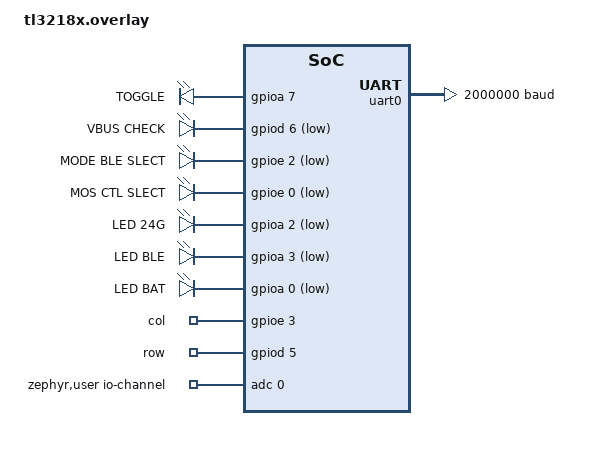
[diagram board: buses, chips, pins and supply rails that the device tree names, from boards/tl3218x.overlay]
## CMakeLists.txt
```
# SPDX-License-Identifier: Apache-2.0

cmake_minimum_required(VERSION 3.20.0)
find_package(Zephyr REQUIRED HINTS $ENV{ZEPHYR_BASE})
project(peripheral_kb_321x)

FILE(GLOB app_sources src/*.c)
target_sources(app PRIVATE
  ${app_sources}
  )
```

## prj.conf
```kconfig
# Increased stack due to settings API usage
CONFIG_SYSTEM_WORKQUEUE_STACK_SIZE=2048

CONFIG_BT=y
CONFIG_BT_SMP=y
CONFIG_BT_SMP_ALLOW_UNAUTH_OVERWRITE=y
CONFIG_BT_ID_ALLOW_UNAUTH_OVERWRITE=y
CONFIG_BT_MAX_PAIRED=4
CONFIG_BT_PERIPHERAL=y
CONFIG_BT_DIS=y
CONFIG_BT_BAS=y
CONFIG_BT_DEVICE_NAME="zephyr kb"
CONFIG_BT_HCI_CORE_LOG_LEVEL_DBG=n

CONFIG_BT_SETTINGS=y
CONFIG_FLASH=y
CONFIG_FLASH_PAGE_LAYOUT=y
CONFIG_FLASH_MAP=y
CONFIG_NVS=y
CONFIG_SETTINGS=y

CONFIG_GPIO=y

CONFIG_PM=y
CONFIG_PM_DEVICE=n
CONFIG_SAMPLE_BT_USE_AUTHENTICATION=n
CONFIG_BT_ID_MAX=4
CONFIG_BT_MAX_CONN=1
CONFIG_BT_ID_UNPAIR_MATCHING_BONDS=y

CONFIG_BT_ID_FOR_KMD=y

#usb config
CONFIG_USB_COMPOSITE_DEVICE=y
CONFIG_USB_DEVICE_STACK=y
CONFIG_USB_DEVICE_HID=y
CONFIG_USB_HID_DEVICE_COUNT=1
CONFIG_USB_DEVICE_PRODUCT="Zephyr HID-keyboard sample"
CONFIG_USB_DEVICE_INITIALIZE_AT_BOOT=n
CONFIG_USB_TELINK_TLX=y
CONFIG_USB_DC_HAS_HS_SUPPORT=n
CONFIG_USB_DEVICE_VID=0x248A
CONFIG_USB_DEVICE_PID=0x3218
CONFIG_ENTROPY_GENERATOR=y
CONFIG_ENTROPY_DEVICE_RANDOM_GENERATOR=y
CONFIG_HID_INTERRUPT_EP_MPS=64

CONFIG_LOG=y
CONFIG_USB_DRIVER_LOG_LEVEL_ERR=y
CONFIG_USB_DEVICE_LOG_LEVEL_ERR=y

CONFIG_REBOOT=y

CONFIG_ADC=n
```

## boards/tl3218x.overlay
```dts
&cpu0 {
	clock-frequency = <96000000>;
};

&uart0 {
	status = "okay";
	pinctrl-0 = <&uart0_tx_pa2_default &uart0_rx_pa3_default>;
	current-speed = <2000000>;			/* Baud rate for serial port logging */
};

&gpioa {
       status = "okay";
};


/ {

	aliases {

		/delete-property/ led0;
		/delete-property/ led1;
		/delete-property/ led2;
		/delete-property/ led3;

		/delete-property/ mcuboot-button0;
		/delete-property/ mcuboot-led0;

		/delete-property/ sw0;
		/delete-property/ sw1;
		/delete-property/ sw2;
		/delete-property/ sw3;

		/delete-property/ pwm-led0;
		/delete-property/ pwm0;

		toggle0 = &toggle_sws_pin;

		vbuscheck0 = &vbus_pin;
		modeswitch = &mode_pin;
		mosctrl = &mos_ctrl_pin;

		led24g = &p24g_led;
		ledble = &ble_led;
		ledbat = &bat_led;

	};

	/delete-node/ leds;
	/delete-node/ pwm_leds;

	leds {
		compatible = "gpio-leds";

		toggle_sws_pin: toggle_io_5 {
			gpios = <&gpioa 7 GPIO_ACTIVE_HIGH>;
			label = "TOGGLE";
		};

		vbus_pin: vbus_io {
			gpios = <&gpiod 6 (GPIO_ACTIVE_LOW)>;
			label = "VBUS CHECK";
		};

		mode_pin: mode_io {
			gpios = <&gpioe 2 (GPIO_ACTIVE_LOW)>;
			label = "MODE BLE SLECT";
		};

		mos_ctrl_pin: mos_io {
			gpios = <&gpioe 0 (GPIO_ACTIVE_LOW)>;
			label = "MOS CTL SLECT";
		};

		p24g_led: led_24g_io {
			gpios = <&gpioa 2 (GPIO_ACTIVE_LOW)>;
			label = "LED 24G";
		};

		ble_led: led_ble_io {
			gpios = <&gpioa 3 (GPIO_ACTIVE_LOW)>;
			label = "LED BLE";
		};

		bat_led: led_bat_io {
			gpios = <&gpioa 0 (GPIO_ACTIVE_LOW)>;
			label = "LED BAT";
		};
	};

	/delete-node/ keys;
	/delete-node/ key_pool;
	/delete-node/ led_pool;
	/delete-node/ pwm_pool;

	/delete-node/ key_matrix;

	key_matrix {
		compatible = "gpio-keys";

		col {
			gpios = <&gpioe 3 (GPIO_ACTIVE_HIGH | GPIO_PULL_DOWN)>,
					<&gpioc 5 (GPIO_ACTIVE_HIGH | GPIO_PULL_DOWN)>,
					<&gpioc 4 (GPIO_ACTIVE_HIGH | GPIO_PULL_DOWN)>,
					<&gpioc 3 (GPIO_ACTIVE_HIGH | GPIO_PULL_DOWN)>,
					<&gpioc 1 (GPIO_ACTIVE_HIGH | GPIO_PULL_DOWN)>,
					<&gpioc 2 (GPIO_ACTIVE_HIGH | GPIO_PULL_DOWN)>,
					<&gpiob 4 (GPIO_ACTIVE_HIGH | GPIO_PULL_DOWN)>,
					<&gpiob 5 (GPIO_ACTIVE_HIGH | GPIO_PULL_DOWN)>,
					<&gpioe 5 (GPIO_ACTIVE_HIGH | GPIO_PULL_DOWN)>,
					<&gpioe 4 (GPIO_ACTIVE_HIGH | GPIO_PULL_DOWN)>,
					<&gpiob 3 (GPIO_ACTIVE_HIGH | GPIO_PULL_DOWN)>,
					<&gpioa 1 (GPIO_ACTIVE_HIGH | GPIO_PULL_DOWN)>,
					<&gpioa 4 (GPIO_ACTIVE_HIGH | GPIO_PULL_DOWN)>,
					<&gpiob 7 (GPIO_ACTIVE_HIGH | GPIO_PULL_DOWN)>,
					<&gpiob 6 (GPIO_ACTIVE_HIGH | GPIO_PULL_DOWN)>,
					<&gpiob 1 (GPIO_ACTIVE_HIGH | GPIO_PULL_DOWN)>,
					<&gpioe 7 (GPIO_ACTIVE_HIGH | GPIO_PULL_DOWN)>,
					<&gpioe 6 (GPIO_ACTIVE_HIGH | GPIO_PULL_DOWN)>;
		};

		row {
			gpios = <&gpiod 5 GPIO_ACTIVE_HIGH>,
					<&gpiob 2 GPIO_ACTIVE_HIGH>,
					<&gpiod 0 GPIO_ACTIVE_HIGH>,
					<&gpiod 1 GPIO_ACTIVE_HIGH>,
					<&gpiod 2 GPIO_ACTIVE_HIGH>,
					<&gpiod 4 GPIO_ACTIVE_HIGH>,
					<&gpiod 7 GPIO_ACTIVE_HIGH>,
					<&gpiod 3 GPIO_ACTIVE_HIGH>;
		};
	};

	zephyr,user {
		/* adjust channel number according to pinmux in board.dts */
		io-channels = <&adc 0>;
	};
};

/*&adc {
	#address-cells = <1>;
	#size-cells = <0>;

	channel@0 {
		reg = <0>;
		zephyr,gain = "ADC_GAIN_1";
		zephyr,reference = "ADC_REF_INTERNAL";
		zephyr,acquisition-time = <ADC_ACQ_TIME_DEFAULT>;
		zephyr,resolution = <12>;
		zephyr,input-positive = <DT_ADC_GPIO_PB0>;
	};
};

&adc {
	status = "disabled";
	vref-internal-mv = <1200>;
	sample-freq = <DT_FREQ_K(96)>;
	pinctrl-0 = <&adc_pb0_default>;
	pinctrl-names = "default";
};
*/

&flash {
	reg = <0x20000000 0x100000>;
	/delete-node/ partitions;

	partitions {
		compatible = "fixed-partitions";
		#address-cells = <1>;
		#size-cells = <1>;

		/*boot_partition: 32k*/
		boot_partition: partition@0 {
			label = "mcuboot";
			reg = <0x00000000 0x8000>;
		};
		/*D25F APP 1 partition: 256k*/
		slot0_partition: partition@8000 {
			label = "image-0";
			reg = <0x8000 0x40000>;
		};
		/*N22 APP 1 partition: 128k*/
		n22_1_partition: partition@48000 {
			label = "image-1";
			reg = <0x48000 0x20000>;
		};
		/*D25F APP 2 partition: 256k*/
		slot1_partition: partition@68000 {
			label = "image-2";
			reg = <0x68000 0x40000>;
		};
		/*N22 APP 2 partition: 128k*/
		n22_2_partition: partition@A8000 {
			label = "image-3";
			reg = <0xA8000 0x20000>;
		};

		user_app_partition: partition@C8000 {
			label = "app-storage";
			reg = <0xC8000 0x00002000>;
		};

		/*BLE SMP storage partition*/
		storage_partition: partition@CA000 {
			label = "storage";
			reg = <0xCA000 0x00002000>;
		};

		/* region <0xfe000 0x2000> is used for Telink TLx RF parameters */
		/* For 1M MCU - the partition address is 0xfe000 */
		/* For 2M MCU - the partition address is 0x1fe000 */
		/* For 4M MCU - the partition address is 0x3fe000 */
		/* For 16M MCU - the partition address is 0xffe000 */
		vendor_partition: partition@fe000 {
			label = "vendor-data";
			reg = <0xfe000 0x2000>;
		};
	};
};

&pinctrl {
	/* Set pad-mul-sel register value.
	 * Note: Pins functions below (pinmux = <...>) depend on this value.
	 */
	pad-mul-sel = <1>;

	/* UART0: TX(PA0), RX(PA1), RTS(PB4), CTS(PB6) */

	/delete-node/ uart0_tx_pe0_default;
	/delete-node/ uart0_rx_pe1_default;

	uart0_tx_pa2_default: uart0_tx_p2a_default {
		pinmux = <TLX_PINMUX_SET(TLX_PORT_A, TLX_PIN_2,
			(TL321X_FUNC_UART0_TX))>;
	};
	uart0_rx_pa3_default: uart0_rx_p3a_default {
		pinmux = <TLX_PINMUX_SET(TLX_PORT_A, TLX_PIN_3,
			(TL321X_FUNC_UART0_RTX_IO))>;
	};
};

&pwm0 {
	status = "disabled";
};

&gspi {
	status = "disabled";
};

&i2c {
	status = "disabled";
	clock-frequency = <I2C_BITRATE_FAST>;
	pinctrl-0 = <&i2c_scl_pc3_default &i2c_sda_pc2_default>;
	pinctrl-names = "default";
};
```

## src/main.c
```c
/* main.c - Application main entry point */

/*
 * Copyright (c) 2016 Intel Corporation
 *
 * SPDX-License-Identifier: Apache-2.0
 */

#include <zephyr/types.h>
#include <stddef.h>
#include <string.h>
#include <errno.h>
#include <zephyr/sys/printk.h>
#include <zephyr/sys/byteorder.h>
#include <zephyr/kernel.h>

#include <zephyr/settings/settings.h>

#include <zephyr/bluetooth/bluetooth.h>
#include <zephyr/bluetooth/hci.h>
#include <zephyr/bluetooth/conn.h>
#include <zephyr/bluetooth/uuid.h>
#include <zephyr/bluetooth/gatt.h>

#include "app_public.h"

#define LOG_LEVEL LOG_LEVEL_DBG
#include <zephyr/logging/log.h>
LOG_MODULE_REGISTER(main);


int main(void)
{

	keyboard_comm_init();

	while(1) {

	    public_loop();
		k_sleep(K_MSEC(3));
	}

	return 0;
}
```

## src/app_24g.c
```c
/* app_24g.c - Application main entry point */

/*
 * Copyright (c) 2016 Intel Corporation
 *
 * SPDX-License-Identifier: Apache-2.0
 */

#include <zephyr/types.h>
#include <stddef.h>
#include <string.h>
#include <errno.h>
#include <zephyr/sys/printk.h>
#include <zephyr/sys/byteorder.h>
#include <zephyr/kernel.h>

#include <zephyr/settings/settings.h>

#include "app_public.h"
#include "drivers.h"

#define LOG_LEVEL LOG_LEVEL_DBG
#include <zephyr/logging/log.h>
LOG_MODULE_REGISTER(app_24g);

#define SCAN_INTERVAL_TIME 8 /* 6 */

#define PAIR_ACCESS_CODE 0x39517695

volatile unsigned int rf_state;
int device_ack_received;
uint8_t device_channel;

uint8_t device_status = 0;
uint32_t dongle_id;
volatile uint16_t no_ack = 0;
uint8_t keyboard_send_need_f = 0;
uint8_t need_suspend_flag = 0;

uint32_t tick_loop;
uint32_t wakeup_next_tick;
uint8_t count;
uint8_t pair_success_flag;
uint8_t dongle_id_need_save_flag = 0;

uint8_t has_new_report;
uint8_t active_disconnect_reason = 0;

uint8_t kb_led_status;
uint8_t connect_ok = 0;

volatile unsigned int rf_rx_timeout_us; /*  rx timeout */
volatile uint32_t start_rf_tick;        /*  start rf tick */
uint8_t has_new_key_event = 0;

#define PAIR_RF_LEN 20
#define KM_RF_LEN   16
volatile rf_packet_t rf_pair_buf = {
	rf_tx_packet_dma_len(PAIR_RF_LEN + 1), /*  dma_len */
	PAIR_RF_LEN,                           /*  rf_len */
};
pair_data_t *p_pair_dat = (pair_data_t *)&rf_pair_buf.dat[0]; /*  point to pair packet */

volatile rf_packet_t rf_km_buf = {
	rf_tx_packet_dma_len(KM_RF_LEN + 1), /*  dma_len */
	KM_RF_LEN,                           /*  rf_len */
};

km_data_t *p_km_data = (km_data_t *)&rf_km_buf.dat[0]; /*  point to km data packet */

unsigned short crc16_poly1[2] = {0, 0xa001};
/**
 * @brief       This function crs 16
 * @param[in]   len	- data len
 * @param[in]   pD	- data
 * @return     crc
 * @note
 */
_attribute_ram_code_sec_ unsigned short crc16_user(unsigned char *pD, int len)
{
	unsigned short crc = 0xffff; /*  crc16 init ffff */
	int i, j;

	for (j = len; j > 0; j--) /*  for every data */
	{
		unsigned char ds = *pD++; /*  pointer pd */

		for (i = 0; i < 8; i++) {
			crc = (crc >> 1) ^ crc16_poly1[(crc ^ ds) & 1]; /*  deal every bit */
			ds = ds >> 1;                                   /*  right move 1 bit */
		}
	}

	return crc; /*  return crc */
}

/**
 * @brief       This function led out kb
 * @param[in]   status
 * @return
 * @note
 */
_attribute_ram_code_sec_ void kb_led_out_aaa(uint8_t status)
{
#if HAS_NUM_LED                                          /*  num led en */
	led_num_set((status & 0x01) ? LED_ON : LED_OFF); /*  set num led */
#endif

#if HAS_CAPS_LED                                          /*  caps led en */
	led_caps_set((status & 0x02) ? LED_ON : LED_OFF); /*  set caps led */
#endif

#if HAS_SCROLL_LED                                          /*  scroll led en */
	led_scroll_set((status & 0x04) ? LED_ON : LED_OFF); /*  set scroll led */
#endif
}

/**
 * @brief       This function deal rx packet
 * @param[in]   p_rf_data	- rx packet
 * @return
 * @note
 */
_attribute_ram_code_sec_ uint8_t rf_rx_process(rf_packet_t *p_rf_data)
{
	if (device_status == STATE_PAIRING) /*  pair status */
	{
		pair_ack_data_t *pair_ack_dat_ptr = (pair_ack_data_t *)&p_rf_data->dat[0];

		if (((pair_ack_dat_ptr->cmd == PAIR_ACK_CMD) ||
		     (pair_ack_dat_ptr->cmd == RECONNECT_ACK_CMD)) &&
		    (pair_ack_dat_ptr->did == p_pair_dat->did)) /*  ack and same did */
		{
			dongle_id = pair_ack_dat_ptr->gid; /*  dongle id update */
			pair_success_flag = 1;             /*  pair success flag set 1 */
			if (pair_ack_dat_ptr->cmd == PAIR_ACK_CMD) {
				dongle_id_need_save_flag = 1; /*  save dongle_id */
			} else {
				dongle_id_need_save_flag = 0; /*  not save dongle_id */
			}
			printk("pairing success--------- %x\n",
			       pair_ack_dat_ptr->gid); /*  debug gid */
			return 1;
		}
	} else if (device_status == STATE_NORMAL) /*  normal status */
	{
		km_ack_data_t *km_ack_dat_ptr = (km_ack_data_t *)&p_rf_data->dat[0];

		if ((keyboard_send_need_f == 2)) /*  mouse ack */
		{
			if (km_ack_dat_ptr->cmd == KB_ACK_CMD) /*  km ack */
			{
				kb_led_status =
					km_ack_dat_ptr->host_led_status; /*  read led status */
				kb_led_out(kb_led_status);               /*  led set status */
				return 1;
			}
		}

		return 1;
	}

	return 0;
}

/**
 * @brief       This function start pair
 * @return
 * @note
 */
void d24_start_pair(void)
{
	printk("d24_start_pair\r\n");
	set_pair_flag(); /*  set pair flag */
#if REBOOT_WHEN_SWITCH_MODE_AND_CHANNEL_ENABLE
	/*  user_reboot(CLEAR_FLAG_ANA); */
	sys_reboot(SYS_REBOOT_COLD);
#else
	/*  write_deep_ana1(CLEAR_FLAG_ANA); /* write reason to analog register */
	device_status = STATE_PAIRING;
	rf_rx_timeout_us = D24G_PAIR_TIMER_OUT;

	p_pair_dat->cmd = PAIR_CMD; /*  Load PAIR_CMD in pairing packets */
#endif
	adv_count = 0;                     /*  adv count 0 */
	adv_begin_tick = clock_time() | 1; /*  adv begin tick */
}

 */
void d24_user_init()
	uint32_t dev_mac;

	printk("d24_user_init\n"); /*  debug 24g user init */

	memcpy((uint8_t *)&dev_mac, mac_public, 4);

	uint32_t device_id = ((dev_mac << 8) | DEVICE_TYPE_INDEX); /*  did set */

	p_pair_dat->cmd = PAIR_CMD;  /*  pair cmd */
	p_pair_dat->did = device_id; /*  did */
	p_km_data->did = device_id;  /*  did */

	p_km_data->cmd = KB_CMD;

	printk("device_id %x\n", device_id);
	dongle_id = flash_dev_info.dongle_id;
	printk("dongle_id %x\n", flash_dev_info.dongle_id);

	if ((dongle_id == U32_MAX) || (dongle_id == 0)) {
		set_pair_flag();
	}

	if (pair_flag) {
		device_status = STATE_PAIRING;          /*  device into pair status */
		rf_rx_timeout_us = D24G_PAIR_TIMER_OUT; /*  pair time out */
		p_pair_dat->did = device_id;
		rf_set_power_level_index(RF_2P4G_POWER_PAIR);
	} else {
		device_status = STATE_NORMAL;
		rf_rx_timeout_us = D24G_COMMUNICATION_TIMER_OUT;
		rf_set_power_level_index(RF_2P4G_POWER_NORMAL);
	}
	rf_state = RF_IDLE_STATUS;
	wakeup_next_tick = clock_time(); /*  next wake up tick update */
	reset_idle_status();
}

/**
 * @brief       This function check rf complet status
 * @return
 * @note
 */
_attribute_ram_code_sec_ void check_rf_complet_status()
{
	rf_state = RF_IDLE_STATUS;
	static uint32_t ack_miss_no; /*  ack miss no */

	if (device_ack_received) {
		ack_miss_no = 0;   /*  reset ack miss 0 */
		no_ack = 0;        /*  reset no ack  0 */
		start_rf_tick = 0; /*  reset start rf tick 0 */

		if (device_status <= STATE_PAIRING) {                            /*  pair status */
			if (pair_success_flag) {                                 /*  pair success */
				device_status = STATE_NORMAL;                    /*  state normal */
				rf_rx_timeout_us = D24G_COMMUNICATION_TIMER_OUT; /*  rx timeout */
				connect_ok = 1;                                  /*  connect ok 1 */

				if (flash_dev_info.dongle_id != dongle_id) {
					flash_dev_info.dongle_id = dongle_id;

					/* need to save dongle_id to flash */
					if (dongle_id_need_save_flag) {
						save_dev_info();
					}
					printk("save info flash %x\n", dongle_id);
				}

				clear_pair_flag();
				reset_idle_status();
			}
			pp_fifo_reset(&tx_fifo);
		} else if (device_status == STATE_NORMAL) /*  normal status */
		{
			if (keyboard_send_need_f) {
				pp_fifo_pop(&tx_fifo);
			}

			connect_ok = 1; /*  update connect ok */
		}

		keyboard_send_need_f = 0;
	} else {
		no_ack++;      /*  noack ++ */
		ack_miss_no++; /*  ack miss no ++ */

		if (ack_miss_no >= 2) {
			device_channel = get_next_channel_with_mask(0, device_channel);
		}

		if (no_ack > 125) /*  no ack>125 */
		{
			connect_ok = 0; /*  no conn */
		}
	}
}

/**
 * @brief       This function deal rf machine loop
 * @return
 * @note
 */
_attribute_ram_code_sec_ void d24g_rf_loop(void) /*  rf state machine loop */
{
	uint8_t *ptr = 0;

	if (rf_state == RF_IDLE_STATUS) /*  rf status idle */
	{
		if (device_status <= STATE_PAIRING) /*  device status not normal */
		{
			set_pair_access_code(PAIR_ACCESS_CODE);

			pair_success_flag = 0; /*  pair success flag set to 0 */
			if (device_status == STATE_PAIRING) {
				app_set_rf_power(RF_POWER_P0dBm);
			}

			connect_ok = 0;                   /*  no connect */
			ptr = (uint8_t *)&rf_pair_buf;    /*  point pair packet */
			keyboard_send_need_f = 1;         /*  pairing */
			start_rf_tick = 0;                /*  reset start rf tick */
		} else if (device_status == STATE_NORMAL) /*  status normal */
		{
			ptr = (uint8_t *)&rf_km_buf; /*  normal status pointer to km data packet */

			set_data_access_code(
				flash_dev_info.dongle_id); /*  dongle id to be data access code */
			app_set_rf_power(RF_2P4G_POWER_NORMAL); /*  set data tx power */

			if (keyboard_send_need_f == 0) {
				uint8_t *p = pp_fifo_get_ptr(&tx_fifo); /*  get data */
				/*  if have data */
				if (p) {
					/*  kb data is 8 byte */
					start_rf_tick = clock_time() | 1; /*  update rf tick */
					keyboard_send_need_f = 2;

					uint8_t *src = (uint8_t *)&p_km_data->cmd;
					km_data_t *km_dat = (km_data_t *)&src[0];
					km_dat->key_type = p[1];

					memcpy(&km_dat->km_dat[0], &p[2], 8);
					/* printk("%x, %x, %x, %x, %x, %x, %x, %x, %x\n",
					 * km_dat->key_type, km_dat->km_dat[0], km_dat->km_dat[1],
					 * km_dat->km_dat[2], km_dat->km_dat[3], km_dat->km_dat[4],
					 * km_dat->km_dat[5], km_dat->km_dat[6], km_dat->km_dat[7]);
					 */

					p_km_data->pn_no = 1;
					p_km_data->seq_no++;
				}
			}
		}

		if (keyboard_send_need_f) {
			rf_state = RF_TX_START_STATUS; /*  rf state to TX status */
			device_ack_received = 0;

			app_rf_set_timeout(rf_rx_timeout_us);
			app_rf_set_chn(rf_chn[device_channel]);
			/*  tlkapi_send_string_data(APP_LOG_EN, "t:", ptr, 20); */
			rf_start_stx2rx(ptr, rf_stimer_get_tick());
			reg_rf_irq_status = 0xffff; /*  irq status reset to ffff */
			printk("t");
		}

	}
	/*  rf status is rf_rx end */
	else if (rf_state == RF_RX_END_STATUS) {
		{
			irq_device_rx();           /*  deal rx receive packet */
			check_rf_complet_status(); /*  check rf complet */
		}
	} else if (rf_state == RF_RX_TIMEOUT_STATUS) /*  rf status is timeout status */
	{
		check_rf_complet_status(); /*  check rf complet */
	}
}

/**
 * @brief       This function deal ui_loop
 * @return
 * @note
 */
_attribute_ram_code_sec_ void ui_loop_24g()
{
	idle_status_poll(); /*  poll idle status parameters */

	/*  device_led_process(); */

	if ((connect_ok == 0)) /*  no connect */
	{
		adv_count_poll(); /*  adv parameter poll */
	}

	if (device_status == STATE_NORMAL) {
		if (has_new_key_event) {
			has_new_key_event = 0;
			reset_idle_status();
		} else {
			if ((idle_count < 3) || key_buf_24g.cnt || 1) {
				uint8_t *p = pp_fifo_get_ptr(&tx_fifo);
				if (p == 0) {
					pp_fifo_push(&tx_fifo, NORMAL_KB_DATA_CMD,
						     &key_buf_24g.nk[0], 8);
				}
			}
		}
	}
}

/**
 * @brief       This function 24g mouse main loop
 * @return
 * @note
 */
_attribute_ram_code_sec_ void d24_main_loop()
{
	static uint32_t tick_loop = 0;

	d24g_rf_loop();

	if (need_suspend_flag) {
		ui_loop_24g();
		tick_loop = clock_time() | 1;
	} else if (clock_time_exceed(tick_loop, SCAN_INTERVAL_TIME * 1000)) {
		tick_loop += SCAN_INTERVAL_TIME * 1000 * SYSTEM_TIMER_TICK_1US;
		wakeup_next_tick = clock_time() | 1;
		ui_loop_24g();
	}

	/* pm_poll(); */
}
```

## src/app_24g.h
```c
/** @file
 *  @brief app_24g.h
 */

/*
 * Copyright (c) 2016 Intel Corporation
 *
 * SPDX-License-Identifier: Apache-2.0
 */

#ifndef __APP_2P4G_H__
#define __APP_2P4G_H__

#define DEVICE_TYPE_INDEX 2 /* 1:mouse, 2:keyboard */

extern uint8_t device_channel;
extern volatile unsigned int rf_state;
extern uint8_t d24g_ota_status;
extern uint8_t deep_flag;
extern uint8_t has_new_key_event;

#define MAX_BTN_CNT 6
typedef struct {
	uint8_t cnt;
	uint8_t keycode[MAX_BTN_CNT];
	uint8_t press_cnt;
	uint32_t special_key_press_f;
} keyboard_data_t;
extern keyboard_data_t key_buf;

typedef enum {
	STATE_POWERON = 0,
	STATE_PAIRING,
	STATE_NORMAL,
	STATE_OTA,
} DEVICE_STATE;

void d24_user_init(void);

void d24_main_loop(void);

void d24g_ota_loop(void);

#ifdef __cplusplus
extern "C" {
#endif

#ifdef __cplusplus
}
#endif

#endif /* __APP_2P4G_H__ */
```

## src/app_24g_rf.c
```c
/* app_24g.c - Application main entry point */

/*
 * Copyright (c) 2016 Intel Corporation
 *
 * SPDX-License-Identifier: Apache-2.0
 */

#include <zephyr/types.h>
#include <stddef.h>
#include <string.h>
#include <errno.h>
#include <zephyr/sys/printk.h>
#include <zephyr/sys/byteorder.h>
#include <zephyr/kernel.h>

#include <zephyr/settings/settings.h>


#include "app_public.h"
#include "drivers.h"

#define LOG_LEVEL LOG_LEVEL_DBG
#include <zephyr/logging/log.h>
LOG_MODULE_REGISTER(app_24g_rf);


#define RX_FIFO_NUM         4
#define RX_FIFO_DEP         128
#define RX_FRAME_SIZE       (RX_FIFO_NUM * RX_FIFO_DEP)

_attribute_data_retention_ volatile unsigned char rx_packet[RX_FRAME_SIZE]  __attribute__((aligned(4)));


//-------------------- rf init------------------
#define FRE_OFFSET	0
#define MAX_RF_CHANNEL  16
const unsigned char rf_chn[MAX_RF_CHANNEL] =
{
    FRE_OFFSET + 5, FRE_OFFSET + 9, FRE_OFFSET + 13, FRE_OFFSET + 17,
    FRE_OFFSET + 22, FRE_OFFSET + 26, FRE_OFFSET + 30, FRE_OFFSET + 35,
    FRE_OFFSET + 40, FRE_OFFSET + 45, FRE_OFFSET + 50, FRE_OFFSET + 55,
    FRE_OFFSET + 60, FRE_OFFSET + 65, FRE_OFFSET + 70, FRE_OFFSET + 76,
};

_attribute_aligned_(4)  uint8_t buf_rf_rxfifo[64*2];
_attribute_aligned_(4)  pl_fifo_t  rf_rxfifo =
{
	.size = 64,
	.num = 2,
	.wptr = 0,
	.rptr = 0,
	.p = buf_rf_rxfifo,
};


#define EMPTY_CNT     500

extern _attribute_data_retention_sec_ rf_fast_settle_t *g_fast_settle_cal_val_ptr;
void		rf_fast_settle_get_val(rf_tx_fast_settle_time_e tx_settle_us, rf_rx_fast_settle_time_e rx_settle_us, rf_fast_settle_t *fs_cv);
void		rf_fast_settle_set_val(rf_tx_fast_settle_time_e tx_settle_us, rf_rx_fast_settle_time_e rx_settle_us, rf_fast_settle_t *fs_cv);


_attribute_data_retention_sec_ rf_fast_settle_t fs_cv_2m;


/**
 *  @brief      This function is used to get the calibration value of rf tx/rx fast settle
 *  @param[in]  tx_settle_us    After adjusting the timing sequence, the time required for tx to settle.
 *  @param[in]  rx_settle_us    After adjusting the timing sequence, the time required for rx to settle.
 *  @param[in]  fs_cv           Fast settle related calibration value storage variable address.
 *  @return     none
 */
void rf_fast_settle_get_val(rf_tx_fast_settle_time_e tx_settle_us, rf_rx_fast_settle_time_e rx_settle_us, rf_fast_settle_t *fs_cv)
{
	uint8_t ble_tx_packet[6];
	unsigned char rf_data_len = 2;
	ble_tx_packet[4]=0;
	ble_tx_packet[5]=0;
	unsigned int rf_tx_dma_len = rf_tx_packet_dma_len(rf_data_len);
	ble_tx_packet[3] = (rf_tx_dma_len >> 24)&0xff;
	ble_tx_packet[2] = (rf_tx_dma_len >> 16)&0xff;
	ble_tx_packet[1] = (rf_tx_dma_len >> 8)&0xff;
	ble_tx_packet[0] = rf_tx_dma_len&0xff;
	//tx

    rf_set_tx_rx_off_auto_mode();      //STOP_RF_STATE_MACHINE;
    rf_clr_irq_status(FLD_RF_IRQ_ALL); //CLEAR_ALL_RFIRQ_STATUS;

    rf_set_tx_settle_time(115);        //adjust TX settle time
    rf_set_tx_dma(2, 128);

    for (unsigned char chn = 0; chn <= 80; chn++) {
        rf_set_chn(chn);
        rf_start_stx(ble_tx_packet, rf_stimer_get_tick());

        while (!(rf_get_irq_status(FLD_RF_IRQ_TX)))
            ;
        rf_clr_irq_status(FLD_RF_IRQ_TX);
        rf_tx_fast_settle_get_cal_val(tx_settle_us, chn, fs_cv);

        rf_set_tx_rx_off_auto_mode(); //STOP_RF_STATE_MACHINE;
        rf_clr_irq_status(FLD_RF_IRQ_ALL);
    }

    //rx
    rf_set_rx_settle_time(85); //adjust RX settle time

    #if 0//defined(MCU_CORE_B91) || defined(MCU_CORE_B92)
    rf_start_srx(rf_stimer_get_tick());
    delay_us(85); //Wait for the rx packetization action to complete
    rf_rx_fast_settle_get_cal_val(rx_settle_us, 0, fs_cv);
    while (rf_receiving_flag())
        ;
    rf_set_tx_rx_off_auto_mode(); //STOP_RF_STATE_MACHINE;
    rf_clr_irq_status(FLD_RF_IRQ_ALL);
    #elif 1//defined(MCU_CORE_TL721X) || defined(MCU_CORE_TL321X)
    rf_set_tx_rx_off_auto_mode(); //STOP_RF_STATE_MACHINE;
    rf_clr_irq_status(FLD_RF_IRQ_ALL);
    for (unsigned char chn = 4; chn <= 80; chn += 10) {
        rf_set_chn(chn);
        rf_start_srx(rf_stimer_get_tick());
        delay_us(85); //Wait for the rx packetization action to complete

        rf_rx_fast_settle_get_cal_val(rx_settle_us, chn, fs_cv);
        while (rf_receiving_flag())
            ;
        rf_set_tx_rx_off_auto_mode(); //STOP_RF_STATE_MACHINE;
        rf_clr_irq_status(FLD_RF_IRQ_ALL);
    }
    #endif
}


/**
 *  @brief      This function is used to set the calibration value of rf tx/rx fast settle
 *  @param[in]  tx_settle_us    After adjusting the timing sequence, the time required for tx to settle.
 *  @param[in]  rx_settle_us    After adjusting the timing sequence, the time required for rx to settle.
 *  @param[in]  fs_cv           Fast settle related calibration value storage variable address.
 *  @return     none
 */
void rf_fast_settle_set_val(rf_tx_fast_settle_time_e tx_settle_us, rf_rx_fast_settle_time_e rx_settle_us, rf_fast_settle_t *fs_cv)
{
        g_fast_settle_cal_val_ptr = fs_cv;
    #if 0//defined(MCU_CORE_B91) || defined(MCU_CORE_B92)
        for (unsigned char chn = 4; chn <= 80; chn += 10) {
            rf_tx_fast_settle_set_cal_val(tx_settle_us, chn, fs_cv);
        }
        rf_rx_fast_settle_set_cal_val(rx_settle_us, 0, fs_cv);
    #elif 1//defined(MCU_CORE_TL721X) || defined(MCU_CORE_TL321X)
        for (unsigned char chn = 4; chn <= 80; chn += 10) {
            rf_tx_fast_settle_set_cal_val(tx_settle_us, chn, fs_cv);
            rf_rx_fast_settle_set_cal_val(rx_settle_us, chn, fs_cv);
        }
    #endif
}


/**
 *  @brief      This function is used to set rf tx/rx fast settle
 *  @param[in]  tx_settle_us    After adjusting the timing sequence, the time required for tx to settle.
 *  @param[in]  rx_settle_us    After adjusting the timing sequence, the time required for rx to settle..
 *  @return     none
*/
void rf_fast_settle_setup(rf_tx_fast_settle_time_e tx_settle_us, rf_rx_fast_settle_time_e rx_settle_us)
{
	uint8_t ble_tx_packet[6];
	unsigned char rf_data_len = 2;
	ble_tx_packet[4]=0;
	ble_tx_packet[5]=0;
	unsigned int rf_tx_dma_len = rf_tx_packet_dma_len(rf_data_len);
	ble_tx_packet[3] = (rf_tx_dma_len >> 24)&0xff;
	ble_tx_packet[2] = (rf_tx_dma_len >> 16)&0xff;
	ble_tx_packet[1] = (rf_tx_dma_len >> 8)&0xff;
	ble_tx_packet[0] = rf_tx_dma_len&0xff;
	//tx
	rf_set_tx_rx_off_auto_mode();//STOP_RF_STATE_MACHINE;
	rf_clr_irq_status(FLD_RF_IRQ_ALL);//CLEAR_ALL_RFIRQ_STATUS;

	rf_set_tx_settle_time(115);//adjust TX settle time
	rf_set_tx_dma(2,128);

	for(unsigned char chn=0;chn<=80;chn++)
	{
		rf_set_chn(chn);
		rf_start_stx(ble_tx_packet,rf_stimer_get_tick());
		delay_us(115);//Wait for the tx packetization action to complete, ensuring that the settle time on each channel

		rf_tx_fast_settle_update_cal_val(tx_settle_us,chn);

		rf_set_tx_rx_off_auto_mode();//STOP_RF_STATE_MACHINE;
		rf_clr_irq_status(FLD_RF_IRQ_ALL);
	}

	//rx
	rf_set_rx_settle_time(85);//adjust RX settle time
	rf_start_srx(rf_stimer_get_tick());
	delay_us(85);//Wait for the rx packetization action to complete

#if (MCU_CORE_TYPE == MCU_CORE_B91)

	rf_rx_fast_settle_update_cal_val(rx_settle_us,0);
	rf_set_tx_rx_off_auto_mode();//STOP_RF_STATE_MACHINE;
	rf_clr_irq_status(FLD_RF_IRQ_ALL);
#elif ((MCU_CORE_TYPE == MCU_CORE_TL721X)||(MCU_CORE_TYPE == MCU_CORE_TL321X))
	rf_set_tx_rx_off_auto_mode();//STOP_RF_STATE_MACHINE;
	rf_clr_irq_status(FLD_RF_IRQ_ALL);
	for(unsigned char chn=4;chn<=80;chn+=10)
	{
		rf_set_chn(chn);
		rf_start_srx(rf_stimer_get_tick());
		delay_us(85);//Wait for the rx packetization action to complete

		rf_rx_fast_settle_update_cal_val(rx_settle_us,chn);

		rf_set_tx_rx_off_auto_mode();//STOP_RF_STATE_MACHINE;
		rf_clr_irq_status(FLD_RF_IRQ_ALL);
	}

#endif
}


/**
 * @brief       This function set to init rf drv private 2m
 * @return
 * @note
 */
_attribute_ram_code_sec_ void pp_rf_init(uint8_t init_fastsettle)
{
    rf_mode_init();
    rf_set_pri_2M_mode();

    pm_set_suspend_power_cfg(FLD_PD_ZB_EN, 1);

    //rf_set_rx_dma(rf_rxfifo.p, rf_rxfifo.num - 1, rf_rxfifo.size);
    rf_set_rx_dma(rx_packet, RX_FIFO_NUM-1, RX_FIFO_DEP);
    //rf_set_rx_maxlen(rf_rxfifo.size - 4);
    rf_set_tx_dma(2, 128);

    rf_set_preamble_len(4);
    rf_set_access_code_len(5);
    reg_rf_modem_sync_thres_ble = 38;


    if (init_fastsettle) {
        rf_fast_settle_get_val(TX_SETTLE_TIME_23US, RX_SETTLE_TIME_15US, &fs_cv_2m);
        rf_fast_settle_set_val(TX_SETTLE_TIME_23US, RX_SETTLE_TIME_15US, &fs_cv_2m);
        if(-1 == rf_fast_settle_config(TX_SETTLE_TIME_23US,RX_SETTLE_TIME_15US))
        {
            //Incorrect configuration.
        }
        rf_tx_fast_settle_en();
        rf_rx_fast_settle_en();
        rf_set_tx_settle_time(23);
        rf_set_rx_settle_time(15);
    }


    plic_interrupt_enable(IRQ_ZB_RT);
    rf_set_irq_mask(FLD_RF_IRQ_TX|FLD_RF_IRQ_RX|FLD_RF_IRQ_RX_TIMEOUT|FLD_RF_IRQ_FIRST_TIMEOUT);
}


/**
 * @brief       This function set pair access code
 * @param[in]   code	- access code
 * @return
 * @note
 */
void set_pair_access_code(uint32_t code)
{
	//rf_access_code_comm(code);

    reg_rf_access_code =  ((code & 0xffffff00) | 0x71);
    reg_rf_access_4 = code;
    //The following two lines of code are for trigger access code in S2,S8 mode.It has no effect on other modes.
    reg_rf_modem_mode_cfg_rx1_0 &= ~FLD_RF_LR_TRIG_MODE;
    write_reg8(0x170425, read_reg8(0x170425) | 0x01);
}

/**
 * @brief       This function set data access code
 * @param[in]   code	- access code
 * @return
 * @note
 */
void set_data_access_code(uint32_t code)
{
	//rf_access_code_comm(code);
    reg_rf_access_code =  ((code & 0xffffff00) | 0x77);
    reg_rf_access_4 = code;
    //The following two lines of code are for trigger access code in S2,S8 mode.It has no effect on other modes.
    reg_rf_modem_mode_cfg_rx1_0 &= ~FLD_RF_LR_TRIG_MODE;
    write_reg8(0x170425, read_reg8(0x170425) | 0x01);
}

/**
*  @brief	 rf start rx
*  @param[in]  tick  rx start tick time
*  @param[in]  timeout_us  rx timeout
*  @return	none
*/

_attribute_ram_code_sec_ void pp_rf_start_srx(unsigned int tick, uint32_t timeout_us)
{
	reg_rf_ll_rx_fst_timeout = timeout_us;					// first timeout.
	reg_rf_ll_cmd_schedule = tick;
	reg_rf_ll_ctrl3 |= FLD_RF_R_CMD_SCHEDULE_EN;	// Enable cmd_schedule mode.
	reg_rf_ll_cmd = 0x86;
}


/**
 * @brief       This function deal 2m private irq
 * @return
 * @note
 */
_attribute_ram_code_sec_ void pp_rf_irq_handler()
{
    if(rf_get_irq_status(FLD_RF_IRQ_RX))
    {
        rf_state = RF_RX_END_STATUS;
		rf_clr_irq_status(FLD_RF_IRQ_RX|FLD_RF_IRQ_CMD_DONE);
    }

    if(rf_get_irq_status(FLD_RF_IRQ_TX))
    {
        //pp_rf_start_srx(rf_stimer_get_tick() + DELAY_RX_AFTER_TX_US * RF_SYSTEM_TIMER_TICK_1US, 300);
        rf_state = RF_RX_START_STATUS;
        //tlkapi_send_string_data(APP_LOG_EN, "TV:", 0, 0);
        rf_clr_irq_status(FLD_RF_IRQ_TX|FLD_RF_IRQ_CMD_DONE);
    }

	if(rf_get_irq_status(FLD_RF_IRQ_RX_TIMEOUT))
	{
        rf_state = RF_RX_TIMEOUT_STATUS;
        //tlkapi_send_string_data(APP_LOG_EN, "T:", 0, 0);
        rf_clr_irq_status(FLD_RF_IRQ_RX_TIMEOUT);
	}
	else
	{
		rf_clr_irq_status(0xffff);
	}

}


/**
 * @brief       This function get next channel
 * @param[in]   chn	-
 * @param[in]   mask	-
 * @return
 * @note
 */
_attribute_ram_code_sec_  uint8_t get_next_channel_with_mask(uint32_t mask, uint8_t chn)
{
	return (chn+3)%15;
}

/**
 * @brief       irq_device_rx
 * @return
 * @note
 */
_attribute_ram_code_ void irq_device_rx(void)
{
    unsigned char* raw_pkt = rf_get_rx_packet_addr(RX_FIFO_NUM, RX_FIFO_DEP, rx_packet);
    if(rf_pri_tpll_packet_crc_ok(raw_pkt)) {
        rf_packet_t *p = (rf_packet_t *)(raw_pkt);
        //tlkapi_send_string_data(APP_LOG_EN, "CRC ok:", 0, 0);
        if (rf_rx_process(p))
        {
            device_ack_received = 1;
        }
    }
    raw_pkt[0] = 1;//must
}

_attribute_ram_code_ void app_set_rf_power(rf_power_level_index_e idx)
{
    static uint8_t last_power = 0xff;

    if(last_power != idx) {
        rf_set_power_level_index(idx);
        last_power = idx;
    }
}

_attribute_ram_code_ void app_rf_set_timeout(unsigned short timeout_us)
{
    static int last_timeout = 0;
    if (last_timeout != timeout_us) {
        rf_set_rx_timeout(timeout_us);
        last_timeout = timeout_us;
    }
}


_attribute_ram_code_ void app_rf_set_chn(signed char chn)
{
    static signed char last_chn = 0;
    if (last_chn != chn) {
        rf_set_chn(chn);
        last_chn = chn;
    }
}
```

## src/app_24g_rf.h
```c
/** @file
 *  @brief app_24g.h
 */

/*
 * Copyright (c) 2016 Intel Corporation
 *
 * SPDX-License-Identifier: Apache-2.0
 */

#ifndef __APP_2P4G_RF_H__
#define __APP_2P4G_RF_H__

#include "rf_common.h"

#define rf_stimer_get_tick() stimer_get_tick()
#define RF_SYSTEM_TIMER_TICK_1US   SYSTEM_TIMER_TICK_1US

#define RF_CRC_LENGTH   3
#define pp_rf_packet_crc_ok(p)            ((p[(p[5]+13+RF_CRC_LENGTH)] & 0x01) == 0x0)


extern int device_ack_received;
extern const unsigned char rf_chn[];
extern uint8_t device_status;


typedef enum
{
	RF_IDLE_STATUS =	0,
    RF_TX_START_STATUS=1,
    RF_TX_END_STATUS=2,
    RF_RX_START_STATUS=3,
    RF_RX_END_STATUS=4,
	RF_RX_TIMEOUT_STATUS=5,

}APP_RF_STATUS_E;
extern volatile unsigned int rf_status;

enum
{
    EMPTY_CMD = 0x00,
    EMPTY_ACK_CMD = 1,

    PAIR_CMD=2,//pair cmd
    PAIR_ACK_CMD=3,//pair ack cmd

	MOUSE_CMD=4,//mouse cmd
	MOUSE_ACK_CMD=5,//mouse ack cmd

	KB_CMD=6,//kb cmd
	KB_ACK_CMD=7,//kb ack cmd

	RECONNECT_CMD=8,//reconnect cmd
	RECONNECT_ACK_CMD=9,//reconnect ack cmd

	D24G_OTA_CMD = 10, //ota cmd
	D24G_OTA_ACK_CMD = 11, //ota ack cmd
};


typedef struct{
    uint32_t dma_len;//dma len

    uint8_t rf_len; //rf len
    uint8_t  dat[59];
} rf_packet_t;

typedef struct
{
	uint8_t cmd;//data type
	uint8_t seq_no;
	uint8_t pno_no;
	uint8_t resv;
	uint32_t did;//device id
	uint8_t key[12]; //key
} pair_data_t;//pair data struct

typedef struct
{
	uint8_t cmd;//data type
	uint8_t seq_no;
	uint8_t pno_no;
	uint8_t resv;
	uint8_t tick_0;
	uint8_t tick_1;
	uint8_t chn;
	uint8_t host_led_status;//host led status

	uint32_t gid;	//dongle ID
	uint32_t did;	//Device ID
	uint8_t key[12]; //key

} pair_ack_data_t;	//Paired ACK packet


typedef struct
{
	uint8_t	cmd;//bit7=0: no aes  =1: aes
	uint8_t	seq_no;	//The frame serial number
	uint8_t	pn_no;	//
	uint8_t key_type;
	uint32_t did;	//Device ID
	uint8_t  km_dat[8];//mouse data or kb

	uint16_t crc16;	//Software CRC16

} km_data_t;	//Communication packet

typedef struct
{

	uint8_t cmd;//data type
	uint8_t seq_no;	//The frame serial number
	uint8_t pno_no;
	uint8_t tick_0;
	uint8_t tick_1;
	uint8_t chn;//chanel
	uint8_t host_led_status;//host led status
	uint8_t resv;
} km_ack_data_t;//km ack data struct


typedef enum
{
	RP_125,
	RP_250,
	RP_500,
	RP_1000,
	RP_2000,
	RP_4000,
	RP_8000,
}REPORT_RATE;



typedef struct{
	uint8_t map[5];
	uint8_t table[37];
	uint8_t hop;
	signed char idx;
} rf_channel_param_t;



typedef struct
{
	uint32_t side_id;

	uint8_t dev_now_status;
	uint8_t pair_success_flag;
	uint8_t rsv[2];
} app_async_st;
extern app_async_st  app_inf;

/**
*  @brief	 Passing spp data (not mouse) to the underlying protocol layer
*  @param[in]  cmd - data command
*  @param[in]  buf -  data buffer
*  @param[in]  length -  data length

*  @return	0:success  ,other :fail
*/

int pp_notify_spp(uint8_t cmd,uint8_t *buf,int length);
/**
 * @brief   2.4g rf init
 * @param[in]   none
 * @return  none
 */

void pp_rf_init(uint8_t init_fastsettle);
/**
 * @brief   irq_handler for 2.4gE stack and RF interrupt
 * @param[in]   none
 * @return  none
 */

void pp_rf_irq_handler(void);
/**
 * @brief   time0 interrupt  for 2.4g   stack
 * @param[in]   none
 * @return  none
 */

void pp_timer0_irq_handler(void);

/**
 * @brief   2.4g stack main loop
 * @param[in]   v  latency value
 * @return  none
 */

void pp_sdk_main_loop(void);

/**
 * @brief   set_cconnect_timeout
 * @param[in]   timeout_ms   unit is 1 ms
 * @return  none
 */

void pp_set_cconnect_timeout(int timeoout_ms);

/**
 * @brief   time0 init  for 2.4g   stack
 * @param[in]   none
 * @return  none
 */

void pp_timer0_init(void);


 /**
  *  @brief	 get fifo number
  *  @param[in]  none
  *  @return	 fifo  number
 */

uint32_t pp_get_rf_tx_fifo_num(void);


_attribute_ram_code_sec_ uint8_t get_next_channel_with_mask(uint32_t mask, uint8_t chn);

void set_pair_access_code(uint32_t code);

/**
 * @brief       This function set data access code
 * @param[in]   code	- access code
 * @return
 * @note
 */
void set_data_access_code(uint32_t code);

extern uint8_t rf_rx_process(rf_packet_t *p_rf_data);

void irq_device_rx(void);

extern _attribute_ram_code_ void app_set_rf_power(rf_power_level_index_e idx);

extern _attribute_ram_code_ void app_rf_set_timeout(unsigned short timeout_us);

extern _attribute_ram_code_ void app_rf_set_chn(signed char chn);

#ifdef __cplusplus
extern "C" {
#endif

#ifdef __cplusplus
}
#endif

#endif // __APP_2P4G_H__
```

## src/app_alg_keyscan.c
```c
/* main.c - Application main entry point */

/*
 * Copyright (c) 2016 Intel Corporation
 *
 * SPDX-License-Identifier: Apache-2.0
 */

#include <zephyr/types.h>
#include <stddef.h>
#include <string.h>
#include <errno.h>
#include <zephyr/sys/printk.h>
#include <zephyr/sys/byteorder.h>
#include <zephyr/kernel.h>

#include <zephyr/settings/settings.h>

#include <zephyr/usb/usb_device.h>
#include <zephyr/usb/class/usb_hid.h>

#include "app_public.h"

#define LOG_LEVEL LOG_LEVEL_DBG
#include <zephyr/logging/log.h>
LOG_MODULE_REGISTER(alg_keyscan);


#if ALG_KEYSCAN_APP_FUN_ENABLE

#define KEYSCAN_TEST_1XADC                  0//KEYSCAN_1XADC_MODE
#define KEYSCAN_TEST_2XADC                  1//KEYSCAN_2XADC_MODE
#define KEYSCAN_TEST_1XADC_8K_ONCE          2//KEYSCAN_1XADC_8K_ONCE_MODE
#define KEYSCAN_TEST_2XADC_8K_ONCE          3//KEYSCAN_2XADC_8K_ONCE_MODE
#define KEYSCAN_TEST_2XADC_8K_TWICE_M1      4//KEYSCAN_2XADC_8K_TWICE_M1_MODE
#define KEYSCAN_TEST_2XADC_8K_TWICE_M2      5//KEYSCAN_2XADC_8K_TWICE_M2_MODE

#define KS_TEST_MODE                        KEYSCAN_TEST_2XADC_8K_ONCE

#define KS_DMA_LLP_ENABLE 1
#define  DMA1_KEY_SCAN   DMA4
#define  DMA2_KEY_SCAN   DMA5

#define BUFFER_SIZE (256) //the minimum buffer size (unit:byte), adc data format 16bits
#define KEYSCAN_ADC_BUFFER_SIZE (BUFFER_SIZE / 4)
short adc0_buffer[KEYSCAN_ADC_BUFFER_SIZE] = {0}, adc1_buffer[KEYSCAN_ADC_BUFFER_SIZE] = {0};
_attribute_aligned_(4)  unsigned short adc_buffer[KEYSCAN_ADC_BUFFER_SIZE*2] = {0};





#define TOTAL_ROW                       														8
#define TOTAL_COL                      															16

//unsigned char const map_window[TOTAL_COL][TOTAL_ROW] = {
unsigned char map_window[TOTAL_COL][TOTAL_ROW] = {\
/*C01*/{KB_M,       KB_Left,    KP_jiahao,  KP_Del,     KB_N,       KB_RCtrl,   KP_9,           KP_0},\
/*C02*/{KB_B,       T_FN,       KP_8,       KP_enter,   KB_V,       KB_RAlt,    KP_7,           KP_3},\
/*C03*/{KB_C,       KB_Space,   KP_jianhao, KP_2,       KB_X,       KB_LAlt,    KP_chenghao,    KP_1},\
/*C04*/{KB_Z,       KB_LWin,    KP_chuhao,  KP_6,       KB_LShift,  KB_LCtrl,   KB_Num,         KP_5},\
/*C05*/{KB_douhao,  KB_Down,    KP_4,       0,          KB_juhao,   KB_Right,   0,              0},\
/*C06*/{KB_wenhao,  0,          0,          0,          KB_RShift,  0,          0,              0},\
/*C07*/{KB_Up,      0,          0,          0,          0,          0,          0,              0},\
/*C08*/{0,          0,          0,          0,          0,          0,          0,              0},\
/*C09*/{KB_J,       KB_U,       KB_7,       KB_F7,      KB_H,       KB_Y,       KB_6,           KB_F6},\
/*C10*/{KB_G,       KB_T,       KB_5,       KB_F5,      KB_F,       KB_R,       KB_4,           KB_F4},\
/*C11*/{KB_D,       KB_E,       KB_3,       KB_F3,      KB_S,       KB_W,       KB_2,           KB_F2},\
/*C12*/{KB_A,       KB_Q,       KB_1,       KB_F1,      KB_Caps,    KB_Tab,     KB_dunhao,      KB_Esc},\
/*C13*/{KB_K,       KB_I,       KB_8,       KB_F8,      KB_L,       KB_O,       KB_9,           KB_F9},\
/*C14*/{KB_fenhao,  KB_P,       KB_0,       KB_F10,     KB_yinhao,  KB_Lguohao, KB_jianhao,     KB_F11},\
/*C15*/{KB_Enter,   KB_Rguohao, KB_denghao, KB_F12,     0,          KB_xiegang, KB_Back,        KB_Home},\
/*C16*/{0,          0,          KB_PgUp,     KB_Delete, 0,          0,          KB_PgDown,      KB_Insert},\
};

unsigned char hw_now_bits[TOTAL_COL];  //hardware bits
unsigned char hw_last_bits[TOTAL_COL];  //hardware bits

unsigned char get_key_value( unsigned short *buf,unsigned short release_threshold,unsigned short press_threshold)
{
    if(buf[0]<release_threshold)
    {
        return 0;
    }
    else if(buf[0]>press_threshold)
    {
        return 1;
    }
    else
    {
        return 2;
    }
    return 1;
}

unsigned char key_scan(void)
{
    unsigned char has_new_key_event=0;
    unsigned char press_flag=0;
    app_key_buf.press_cnt=0;
    app_key_buf.cnt=0;
    app_key_buf.special_key_press_f=0;

    //tmemset(&app_key_buf.hw_now_bits[0], 0, TOTAL_COL);
     for(int col=0;col<TOTAL_COL;col++)
     {
        for(int i=0;i<8;i++)
        {  
       
           if(map_window[col][i]!=0)
           {
                press_flag = get_key_value(&adc_buffer[8*col+i],0x310,0x360);
 				LOG_INF("adc_buffer[%d] = %d", 8*col+i, adc_buffer[8*col+i]);
           }
             if(press_flag==1)
             {
                hw_now_bits[col]|=(1<<i);
                app_key_buf.press_cnt++;
                key_fifo(map_window[col][i]);
				LOG_INF("press_flag %d, x %d, y %d", col, i);
             }
             else if(press_flag==0)
             {
               hw_now_bits[col]&=0xff-(1<<i);
             }
             #if 0
             if((app_key_buf.hw_last_bits[col]&(1<<i))!=(app_key_buf.hw_now_bits[col]&(1<<i)))
             {
                debug_print_keyscan("col=%d,row=%d,adc_buf=0x%0x, ",col,i,adc_buffer[8*col+i]);
             }
             #endif
        }
        if(hw_last_bits[col]!=hw_now_bits[col])
        {
            has_new_key_event=1;
            hw_last_bits[col]=hw_now_bits[col];
            // debug_print_keyscan("col=%d,hw_now_bits=%02x\r\n",col,app_key_buf.hw_last_bits[col]);
        }
     }

     if(has_new_key_event)
     {
         #if 0
        for(int i=0;i<app_key_buf.cnt;i++)
        {
            debug_print_keyscan("%02X ",app_key_buf.keycode[i]);
        }
        debug_print_keyscan("\r\n");
        #endif
       // TODO: key_data_handle();
        //print_app_public("special_key_press_f=%d\r\n",app_key_buf.special_key_press_f);
       // TODO:  special_key_event_handle();
     }

    return has_new_key_event;
}
#endif
```

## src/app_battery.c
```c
/* app_battery.c - Application main entry point */

/*
 * Copyright (c) 2016 Intel Corporation
 *
 * SPDX-License-Identifier: Apache-2.0
 */

#include <zephyr/types.h>
#include <stddef.h>
#include <string.h>
#include <errno.h>
#include <zephyr/sys/printk.h>
#include <zephyr/sys/byteorder.h>
#include <zephyr/kernel.h>

#include <zephyr/settings/settings.h>
#include <zephyr/drivers/adc.h>

#include "app_public.h"

#define LOG_LEVEL LOG_LEVEL_DBG
#include <zephyr/logging/log.h>
LOG_MODULE_REGISTER(app_bat);

#if BATT_CHECK_ENABLE
/*ADC*/
#if !DT_NODE_EXISTS(DT_PATH(zephyr_user)) || !DT_NODE_HAS_PROP(DT_PATH(zephyr_user), io_channels)
#error "No suitable devicetree overlay specified"
#endif

#define DT_SPEC_AND_COMMA(node_id, prop, idx) ADC_DT_SPEC_GET_BY_IDX(node_id, idx),

/* Data of ADC io-channels specified in devicetree. */
static const struct adc_dt_spec adc_channels[] = {
	DT_FOREACH_PROP_ELEM(DT_PATH(zephyr_user), io_channels, DT_SPEC_AND_COMMA)};

uint32_t lowBattDet_tick = 0;

uint16_t buf;
struct adc_sequence sequence = {
	.buffer = &buf,
	/* buffer size in bytes, not number of samples */
	.buffer_size = sizeof(buf),
};

void app_battery_check_init(void)
{
	int err;

	/* Configure channels individually prior to sampling. */
	for (size_t i = 0U; i < ARRAY_SIZE(adc_channels); i++) {
		if (!device_is_ready(adc_channels[i].dev)) {
			tlkapi_printk(TLK_LOG_EN, "ADC controller device %s not ready\n",
				      adc_channels[i].dev->name);
			return 0;
		}

		err = adc_channel_setup_dt(&adc_channels[i]);
		if (err < 0) {
			tlkapi_printk(TLK_LOG_EN, "Could not setup channel #%d (%d)\n", i, err);
			return 0;
		}
	}

	tlkapi_printk(TLK_LOG_EN, "ADC battery check init\n");
}

_attribute_ram_code_sec_ void app_battery_power_check(uint16_t alarm_vol_mv)
{
	int err;

	tlkapi_printk(TLK_LOG_EN, "ADC reading:\n");
	int32_t val_mv;

	(void)adc_sequence_init_dt(&adc_channels[0], &sequence);

	err = adc_read(adc_channels[0].dev, &sequence);
	if (err < 0) {
		tlkapi_printk(TLK_LOG_EN, "Could not read (%d)\n", err);
	}

	val_mv = (int32_t)buf;

	tlkapi_printk(TLK_LOG_EN, "%" PRId32, val_mv);
	err = adc_raw_to_millivolts_dt(&adc_channels[0], &val_mv);
	/* conversion to mV may not be supported, skip if not */
	if (err < 0) {
		tlkapi_printk(TLK_LOG_EN, " (value in mV not available)\n");
	} else {
		tlkapi_printk(TLK_LOG_EN, " = %" PRId32 " mV\n", val_mv);
	}
}

#endif
```

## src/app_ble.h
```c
/** @file
 *  @brief HoG Service sample
 */

/*
 * Copyright (c) 2016 Intel Corporation
 *
 * SPDX-License-Identifier: Apache-2.0
 */

#ifdef __cplusplus
extern "C" {
#endif



#define    PAIR_TIMEOUT_US              60*1000//6s
#define    RECONN_TIMEOUT_US            60*1000//60s
#define    CON_NO_ACTIVE_TIMEOUT_S      600 * 1000//10min

typedef enum
{
    BLE_STATUS_INIT=0,
    IDLE_BLE_STATUS=1,
    ADV_PAIR_BLE_STATUS=2,
    ADV_RECONNECT_BLE_STATUS=3,
    CON_BEGIN_BLE_STATUS=4,
    CON_FIRST_SMP_BLE_STATUS=5,
    CON_RECONNECT_SMP_BLE_STATUS=6,
    CON_WRITE_CCC_BLE_STATUS=7,
    CON_OK_BLE_STATUS=8,
    SLEEP_BLE_STATUS=9,

}BLE_STATUS_APP_ENUM;
extern volatile uint8_t ble_status;
extern uint8_t connect_complete;
extern uint32_t tick_connected;
extern uint8_t pair_flag;


void ble_init(void);
void ble_start_pairing_delayed_work_handler(struct k_work *work);
void start_pairing_by_delay_work(void);
void app_ble_report_to_client(void);
#ifdef __cplusplus
}
#endif
```

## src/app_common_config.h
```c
/********************************************************************************************************
 * @file    app_common_config.h
 *
 * @brief   This is the header file for BLE SDK
 *
 * @author  BLE GROUP
 * @date    06,2022
 *
 * @par     Copyright (c) 2022, Telink Semiconductor (Shanghai) Co., Ltd. ("TELINK")
 *
 *          Licensed under the Apache License, Version 2.0 (the "License");
 *          you may not use this file except in compliance with the License.
 *          You may obtain a copy of the License at
 *
 *              http://www.apache.org/licenses/LICENSE-2.0
 *
 *          Unless required by applicable law or agreed to in writing, software
 *          distributed under the License is distributed on an "AS IS" BASIS,
 *          WITHOUT WARRANTIES OR CONDITIONS OF ANY KIND, either express or implied.
 *          See the License for the specific language governing permissions and
 *          limitations under the License.
 *
 *******************************************************************************************************/

// #include "config.h"
// //#include "types.h"
// #include "bit.h"



/////////////////////////////////////////////////////////////////////////

#define TLK_ERR_BASE_NUM                                    (0x0)    /**< Global error base */

#define TLK_SUCCESS                                         (TLK_ERR_BASE_NUM + 0)    /**< Successful command */
#define TLK_ERR_NULL                                        (TLK_ERR_BASE_NUM + 1)    /**< Null pointer */
#define TLK_ERR_INVALID_PARAM                               (TLK_ERR_BASE_NUM + 2)    /**< Invalid parameter */
#define TLK_ERR_BUSY                                        (TLK_ERR_BASE_NUM + 3)    /**< Device or resourse Busy */
#define TLK_ERR_INVALID_STATE                               (TLK_ERR_BASE_NUM + 4)    /**< Invalid state, operation disallowed in this state */
#define TLK_ERR_BUFFER_EMPTY                                (TLK_ERR_BASE_NUM + 5)    /**< Buffer/FIFO is empty */
#define TLK_ERR_NO_MEM                                      (TLK_ERR_BASE_NUM + 6)    /**< No memory available for operation */
#define TLK_ERR_INVALID_LENGTH                              (TLK_ERR_BASE_NUM + 7)    /**< Invalid length */
#define TLK_ERR_TIMEOUT                                     (TLK_ERR_BASE_NUM + 8)    /**< Operation timed out */
#define TLK_ERR_INTERNAL                                    (TLK_ERR_BASE_NUM + 9)    /**< Internal error */
#define TLK_ERR_DEV_NOT_FOUND                               (TLK_ERR_BASE_NUM + 10)   /**< Destination device not found */
#define TLK_ERR_CMD_NOT_SUPPORT                             (TLK_ERR_BASE_NUM + 11)   /**< cmd not supported */
#define TLK_ERR_BUFFER_FULL                                 (TLK_ERR_BASE_NUM + 12)   /**< Buffer/FIFO is full */

/////////////////////////////////////////////////////////////////////////

#define SPP_TX_FIFO_SIZE            32
#define SPP_TX_FIFO_SIZE_KB         24 //In 8K mode, the spp buffer size cannot exceed 24 on kb side.

#define MAC_ADDR_LEN                6 //MAC address length



typedef enum {
    KB_MODE_2P4G                        =   0,
    KB_MODE_BLE                         =   1,
    KB_MODE_USB                         =   2,
} kb_mode_t;

typedef enum
{
    REPORT_RATE_8K                      = BIT(7),
    REPORT_RATE_4K                      = BIT(0),
    REPORT_RATE_2K                      = BIT(1),
    REPORT_RATE_1K                      = BIT(2),
    REPORT_RATE_500                     = BIT(3),
    REPORT_RATE_250                     = BIT(4),
    REPORT_RATE_125                     = BIT(5),

    RR_8K_HIGH                          = 0,
    RR_8K_LOW                           = 1,
    REPORT_RATE_8K_MODE_LOW             = REPORT_RATE_500,
    REPORT_RATE_8K_MODE_HIGH            = REPORT_RATE_8K,
} report_rate_t;
```
